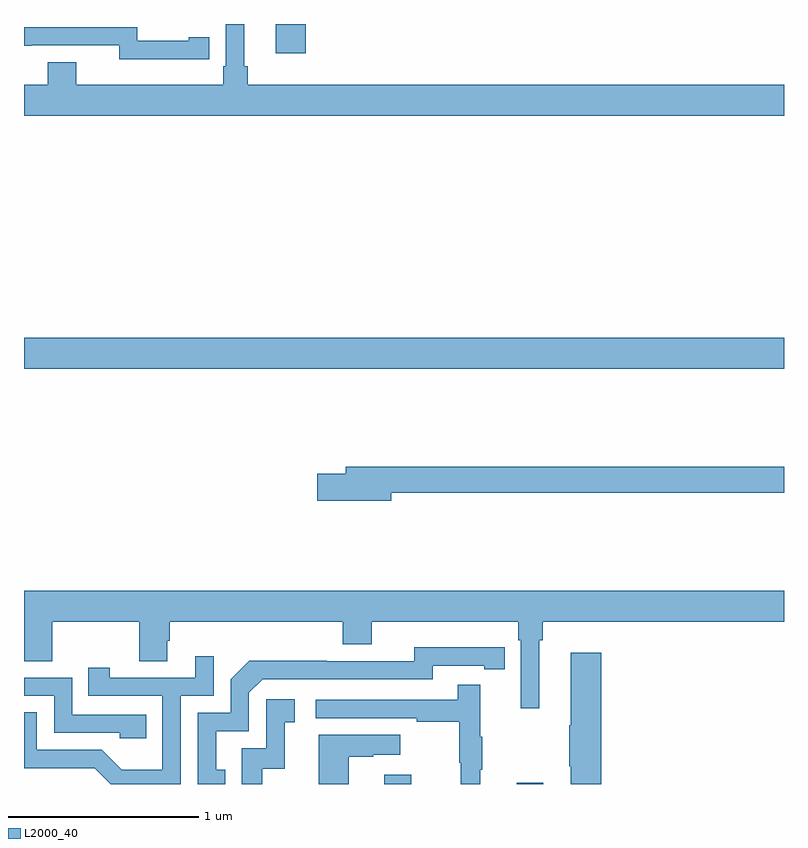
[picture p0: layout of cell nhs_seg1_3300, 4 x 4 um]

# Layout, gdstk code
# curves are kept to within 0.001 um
import gdstk
lib = gdstk.Library(unit=1e-6, precision=1e-09)
def R(c, l, rs):  # rectangles x0, y0, x1, y1
    for r in rs: c.add(gdstk.rectangle(r[:2], r[2:], *l))
def P(c, l, *ps):  # polygons
    for p in ps: c.add(gdstk.Polygon(p, *l))
L2000_40 = (2000, 40)

nhs_seg1_3300 = lib.new_cell('nhs_seg1_3300')
R(nhs_seg1_3300, L2000_40, [(290.897,564.199,291.037,564.247), (291.593,564.199,291.733,564.205), (289,566.384,293,566.548), (290.324,568.044,290.483,568.199)])
P(nhs_seg1_3300, L2000_40, [(293,567.88),(290.177,567.88),(290.177,567.976),(290.158,567.976),(290.158,568.199),(290.061,568.199),(290.061,567.976),(290.048,567.976),(290.048,567.88),(289.276,567.88),(289.276,567.997),(289.124,567.997),(289.124,567.88),(289,567.88),(289,567.716),(293,567.716)],
  [(289.868,568.014),(289.976,568.014),(289.976,568.13),(289.868,568.13),(289.868,568.11),(289.596,568.11),(289.596,568.182),(289,568.182),(289,568.085),(289.04,568.085),(289.04,568.086),(289.5,568.086),(289.5,568.013),(289.868,568.013)],
  [(290.932,565.732),(293,565.732),(293,565.868),(290.693,565.868),(290.693,565.832),(290.544,565.832),(290.544,565.69),(290.932,565.69)],
  [(291.712,564.956),(291.731,564.956),(291.731,565.052),(293,565.052),(293,565.216),(289,565.216),(289,564.954),(289.001,564.954),(289.001,564.844),(289.149,564.844),(289.149,565.052),(289.606,565.052),(289.606,564.844),(289.753,564.844),(289.753,564.954),(289.766,564.954),(289.766,565.052),(290.678,565.052),(290.678,564.935),(290.83,564.935),(290.83,565.052),(291.602,565.052),(291.602,564.956),(291.615,564.956),(291.615,564.597),(291.712,564.597)],
  [(290.06,564.273),(290.011,564.273),(290.011,564.477),(290.184,564.477),(290.184,564.678),(290.256,564.75),(291.15,564.75),(291.15,564.822),(291.422,564.822),(291.422,564.802),(291.53,564.802),(291.53,564.918),(291.054,564.919),(291.054,564.846),(290.594,564.846),(290.594,564.848),(290.186,564.848),(290.088,564.75),(290.088,564.573),(289.914,564.573),(289.914,564.199),(290.06,564.199)],
  [(292.037,564.889),(291.878,564.889),(291.878,564.509),(291.871,564.509),(291.871,564.292),(291.878,564.292),(291.878,564.199),(292.037,564.199)],
  [(289.824,564.663),(289.998,564.663),(289.998,564.871),(289.901,564.871),(289.901,564.759),(289.45,564.759),(289.45,564.811),(289.339,564.811),(289.339,564.663),(289.728,564.663),(289.728,564.274),(289.514,564.274),(289.41,564.378),(289.068,564.378),(289.068,564.577),(289,564.577),(289,564.282),(289.373,564.282),(289.456,564.199),(289.824,564.199)],
  [(289.643,564.564),(289.254,564.564),(289.254,564.759),(289,564.759),(289,564.663),(289.158,564.663),(289.158,564.468),(289.503,564.468),(289.503,564.441),(289.643,564.441)],
  [(291.401,564.275),(291.412,564.275),(291.412,564.449),(291.401,564.449),(291.401,564.721),(291.283,564.721),(291.283,564.642),(290.535,564.642),(290.535,564.546),(291.067,564.546),(291.067,564.526),(291.291,564.526),(291.291,564.312),(291.298,564.312),(291.298,564.199),(291.401,564.199)],
  [(290.254,564.279),(290.372,564.279),(290.372,564.525),(290.425,564.525),(290.425,564.646),(290.274,564.646),(290.274,564.387),(290.145,564.387),(290.145,564.199),(290.254,564.199)],
  [(290.71,564.343),(290.837,564.343),(290.837,564.353),(290.98,564.353),(290.98,564.457),(290.552,564.457),(290.552,564.199),(290.71,564.199)])

lib.write_gds('nhs_seg1_3300.gds')
